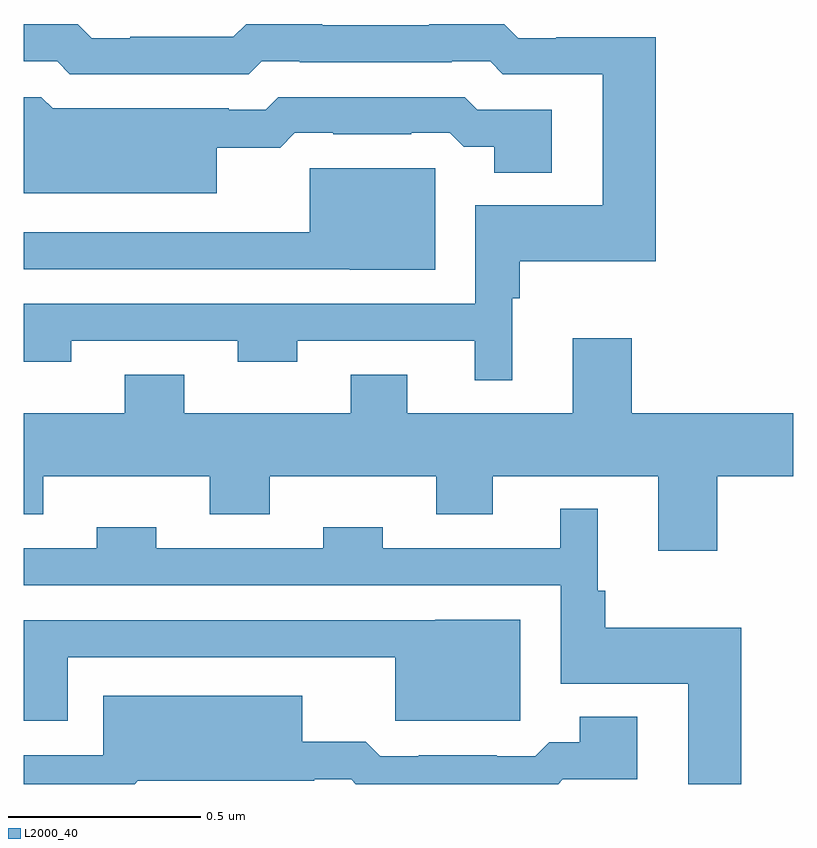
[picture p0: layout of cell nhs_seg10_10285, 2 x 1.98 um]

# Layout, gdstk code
import gdstk
lib = gdstk.Library(unit=1e-6, precision=1e-09)
def P(c, l, *ps):  # polygons
    for p in ps: c.add(gdstk.Polygon(p, *l))
L2000_40 = (2000, 40)

nhs_seg10_10285 = lib.new_cell('nhs_seg10_10285')
P(nhs_seg10_10285, L2000_40, [(241.27,1316.762),(241.289,1316.762),(241.289,1316.858),(241.643,1316.858),(241.643,1317.441),(241.384,1317.441),(241.384,1317.438),(241.285,1317.438),(241.249,1317.475),(241.054,1317.475),(241.054,1317.472),(240.776,1317.472),(240.776,1317.475),(240.578,1317.475),(240.545,1317.442),(240.277,1317.442),(240.277,1317.438),(240.177,1317.438),(240.141,1317.475),(240,1317.475),(240,1317.378),(240.087,1317.378),(240.12,1317.345),(240.585,1317.345),(240.618,1317.378),(240.718,1317.378),(240.718,1317.375),(241.112,1317.375),(241.112,1317.378),(241.212,1317.378),(241.245,1317.345),(241.505,1317.345),(241.505,1317.004),(241.173,1317.004),(241.173,1316.748),(240,1316.748),(240,1316.597),(240.123,1316.597),(240.123,1316.652),(240.556,1316.652),(240.556,1316.597),(240.711,1316.597),(240.711,1316.652),(241.172,1316.652),(241.172,1316.549),(241.27,1316.549)],
  [(240.502,1317.154),(240.667,1317.154),(240.705,1317.192),(240.805,1317.192),(240.805,1317.189),(241.007,1317.189),(241.007,1317.192),(241.107,1317.192),(241.144,1317.156),(241.223,1317.156),(241.223,1317.089),(241.372,1317.089),(241.372,1317.252),(241.179,1317.252),(241.146,1317.285),(240.662,1317.285),(240.629,1317.252),(240.533,1317.252),(240.533,1317.256),(240.075,1317.256),(240.046,1317.285),(240,1317.285),(240,1317.035),(240.502,1317.035)],
  [(241.069,1317.1),(240.743,1317.1),(240.743,1316.934),(240,1316.934),(240,1316.838),(240.847,1316.838),(240.847,1316.837),(241.069,1316.837)],
  [(241.427,1316.659),(241.427,1316.464),(240.997,1316.464),(240.997,1316.563),(240.85,1316.563),(240.85,1316.464),(240.417,1316.464),(240.417,1316.563),(240.262,1316.563),(240.262,1316.464),(240,1316.464),(240,1316.201),(240.051,1316.201),(240.051,1316.3),(240.484,1316.3),(240.484,1316.201),(240.639,1316.201),(240.639,1316.3),(241.072,1316.3),(241.072,1316.201),(241.219,1316.201),(241.219,1316.3),(241.649,1316.3),(241.649,1316.106),(241.802,1316.106),(241.802,1316.3),(242,1316.3),(242,1316.464),(241.58,1316.464),(241.58,1316.659)],
  [(241.865,1315.906),(241.511,1315.906),(241.511,1316.002),(241.492,1316.002),(241.492,1316.215),(241.394,1316.215),(241.394,1316.112),(240.933,1316.112),(240.933,1316.167),(240.778,1316.167),(240.778,1316.112),(240.345,1316.112),(240.345,1316.167),(240.19,1316.167),(240.19,1316.112),(240,1316.112),(240,1316.016),(241.395,1316.016),(241.395,1315.76),(241.727,1315.76),(241.727,1315.5),(241.865,1315.5)],
  [(240.115,1315.83),(240.965,1315.83),(240.965,1315.664),(241.291,1315.664),(241.291,1315.927),(241.069,1315.927),(241.069,1315.926),(240,1315.926),(240,1315.664),(240.115,1315.664)],
  [(240.297,1315.508),(240.755,1315.508),(240.755,1315.512),(240.851,1315.512),(240.863,1315.5),(241.389,1315.5),(241.401,1315.512),(241.594,1315.512),(241.594,1315.675),(241.445,1315.675),(241.445,1315.609),(241.366,1315.609),(241.329,1315.572),(241.229,1315.572),(241.229,1315.575),(241.027,1315.575),(241.027,1315.572),(240.927,1315.572),(240.889,1315.61),(240.724,1315.61),(240.724,1315.729),(240.207,1315.729),(240.207,1315.575),(240,1315.575),(240,1315.5),(240.289,1315.5)])

lib.write_gds('nhs_seg10_10285.gds')
